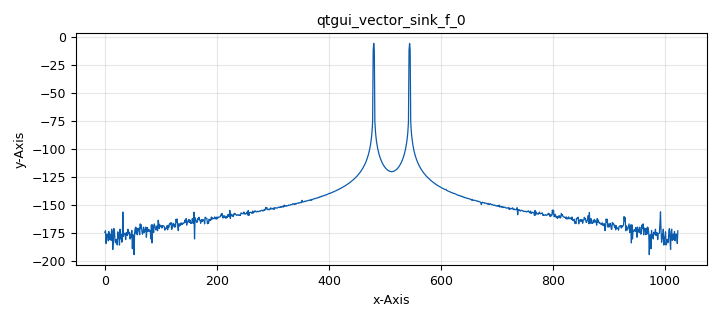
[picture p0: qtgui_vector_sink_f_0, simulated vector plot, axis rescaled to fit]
options:
  parameters:
    generate_options: qt_gui
    id: default
    output_language: python
    title: Not titled yet
  states: {}

blocks:
- name: current_window
  id: variable
  parameters:
    value: np.ones(fft_size)
  states: {}
- name: current_window_2
  id: variable
  parameters:
    value: window.hann(fft_size)
  states: {}
- name: fft_size
  id: variable
  parameters:
    value: '1024'
  states: {}
- name: frec
  id: variable_qtgui_range
  parameters:
    label: frec
    start: '-samp_rate/2'
    step: '1'
    stop: samp_rate/2
    value: '1000'
  states: {}
- name: samp_rate
  id: variable
  parameters:
    value: '32000'
  states: {}
- name: window_factor
  id: variable
  parameters:
    value: np.sum(pow(np.asarray(current_window_2),1))/fft_size
  states: {}
- name: analog_sig_source_x_0
  id: analog_sig_source_x
  parameters:
    amp: '1'
    freq: frec
    offset: '0'
    phase: '0'
    samp_rate: samp_rate
    type: complex
    waveform: analog.GR_COS_WAVE
  states: {}
- name: audio_sink_0
  id: audio_sink
  parameters:
    samp_rate: samp_rate
  states: {state: disabled}
- name: blocks_complex_to_float_0
  id: blocks_complex_to_float
  parameters: {}
  states: {}
- name: blocks_complex_to_mag_0
  id: blocks_complex_to_mag
  parameters:
    vlen: fft_size
  states: {}
- name: blocks_complex_to_mag_squared_0
  id: blocks_complex_to_mag_squared
  parameters:
    vlen: fft_size
  states: {state: disabled}
- name: blocks_multiply_const_vxx_0
  id: blocks_multiply_const_vxx
  parameters:
    const: 1/(window_factor*np.ones(fft_size)*fft_size)
    type: float
    vlen: fft_size
  states: {}
- name: blocks_nlog10_ff_0
  id: blocks_nlog10_ff
  parameters:
    k: '0'
    n: '20'
    vlen: fft_size
  states: {}
- name: blocks_stream_to_vector_0
  id: blocks_stream_to_vector
  parameters:
    num_items: fft_size
    type: float
  states: {}
- name: blocks_throttle2_0
  id: blocks_throttle2
  parameters:
    samples_per_second: samp_rate
    type: complex
  states: {}
- name: fft_vxx_0
  id: fft_vxx
  parameters:
    fft_size: fft_size
    forward: 'True'
    shift: 'True'
    type: float
    window: current_window_2
  states: {}
- name: import_0
  id: import
  parameters:
    imports: import numpy as np
  states: {}
- name: qtgui_freq_sink_x_0
  id: qtgui_freq_sink_x
  parameters:
    bw: samp_rate
    fc: '0'
    fftsize: '1024'
    norm_window: 'True'
    type: complex
  states: {state: disabled}
- name: qtgui_time_sink_x_0
  id: qtgui_time_sink_x
  parameters:
    size: '1024'
    srate: samp_rate
    type: complex
  states: {state: disabled}
- name: qtgui_vector_sink_f_0
  id: qtgui_vector_sink_f
  parameters:
    vlen: '1024'
    x_start: '0'
    x_step: '1.0'
  states: {}

connections:
- [analog_sig_source_x_0, '0', audio_sink_0, '0']
- [analog_sig_source_x_0, '0', blocks_throttle2_0, '0']
- [blocks_complex_to_float_0, '0', blocks_stream_to_vector_0, '0']
- [blocks_complex_to_mag_0, '0', blocks_multiply_const_vxx_0, '0']
- [blocks_complex_to_mag_squared_0, '0', blocks_nlog10_ff_0, '0']
- [blocks_multiply_const_vxx_0, '0', blocks_nlog10_ff_0, '0']
- [blocks_nlog10_ff_0, '0', qtgui_vector_sink_f_0, '0']
- [blocks_stream_to_vector_0, '0', fft_vxx_0, '0']
- [blocks_throttle2_0, '0', blocks_complex_to_float_0, '0']
- [blocks_throttle2_0, '0', qtgui_freq_sink_x_0, '0']
- [blocks_throttle2_0, '0', qtgui_time_sink_x_0, '0']
- [fft_vxx_0, '0', blocks_complex_to_mag_0, '0']
- [fft_vxx_0, '0', blocks_complex_to_mag_squared_0, '0']

metadata:
  file_format: 1
  grc_version: 3.10.12.0
